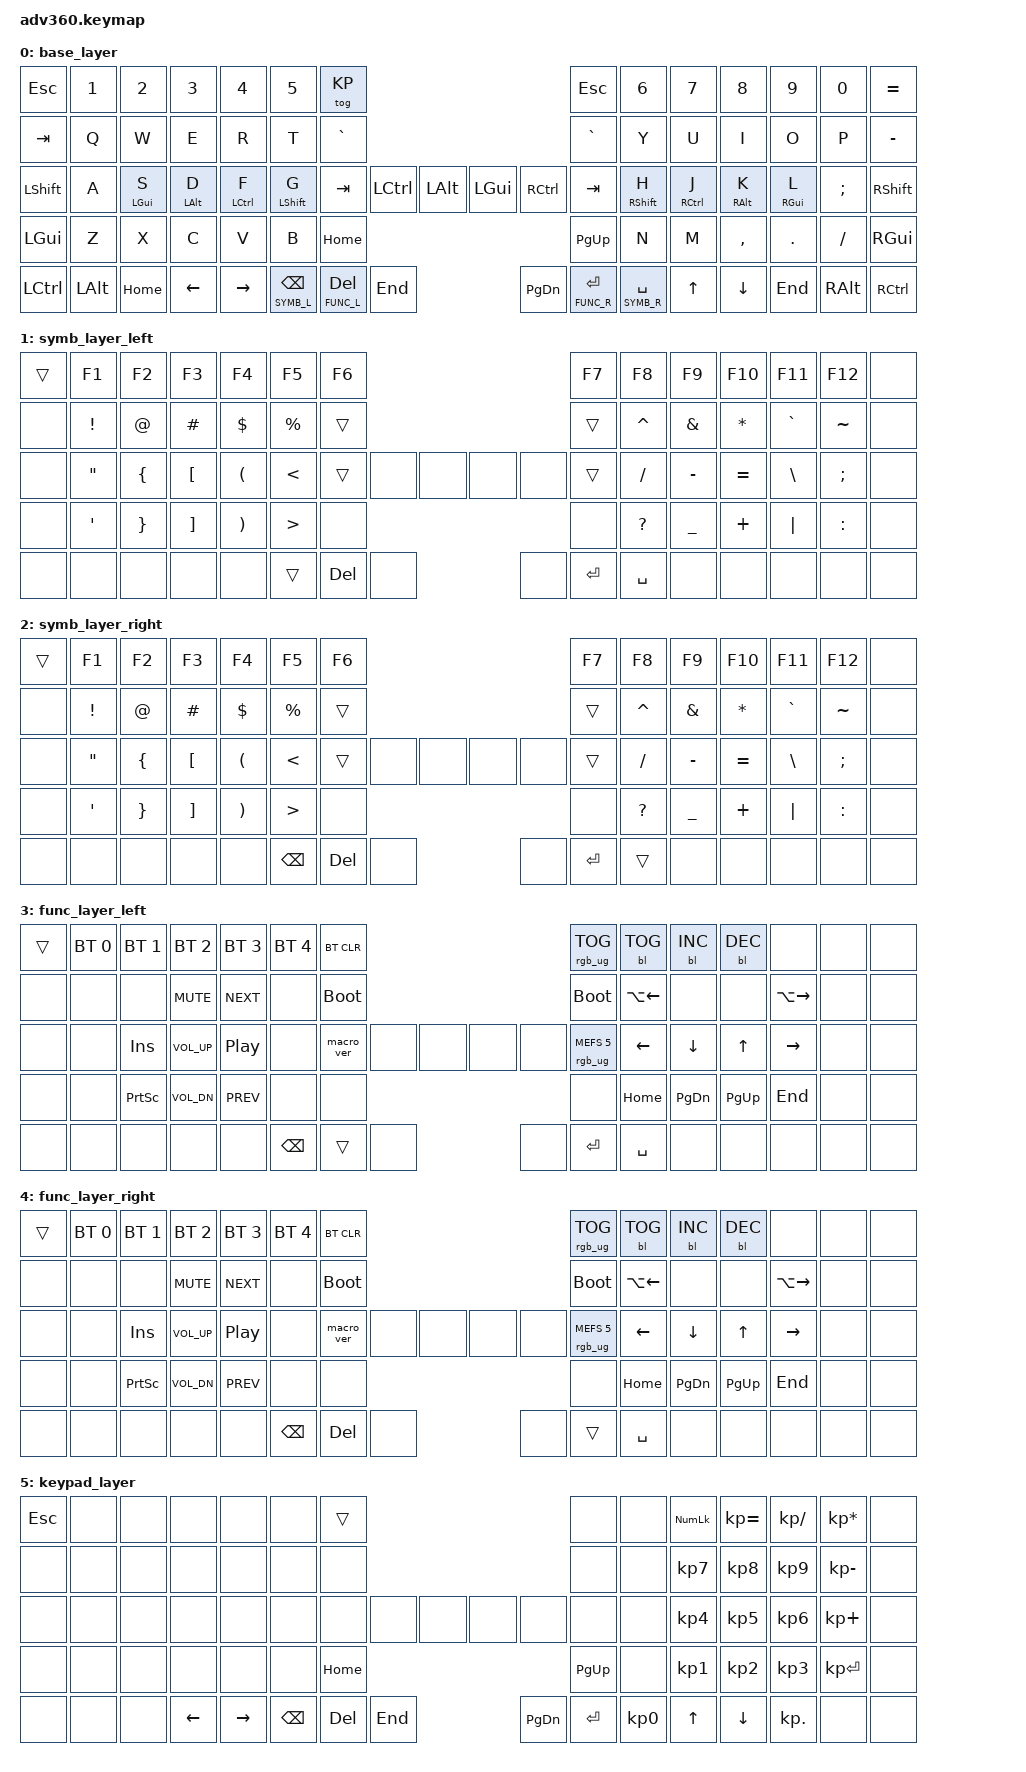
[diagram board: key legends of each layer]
#include <behaviors.dtsi>
#include <dt-bindings/zmk/keys.h>
#include <dt-bindings/zmk/bt.h>
#include <dt-bindings/zmk/rgb.h>
#include <dt-bindings/zmk/backlight.h>

#define BASE 0
#define SYMB_L 1
#define SYMB_R 2
#define FUNC_L 3
#define FUNC_R 4
#define KP 5

&lt {
    tapping-term-ms = <300>;
};

/ {
    behaviors {
      #include "macros.dtsi"
      #include "version.dtsi"
      #ifndef VERSION_MACRO
      macro_ver: macro_ver {
        compatible = "zmk,behavior-macro";
        label = "macro_version";
        #binding-cells = <0>;
        bindings = <&kp RET>;
      };
      #endif

      hm: homerow_mods {
          compatible = "zmk,behavior-hold-tap";
          label = "HOMEROW_MODS";
          #binding-cells = <2>;
          tapping-term-ms = <300>;
          quick_tap_ms = <0>;
          flavor = "tap-preferred";
          bindings = <&kp>, <&kp>;
      };
    };

  keymap {
    compatible = "zmk,keymap";

    base_layer {
      bindings = <
        &kp ESC   &kp N1    &kp N2     &kp N3     &kp N4      &kp N5      &tog KP                                                                                       &kp ESC   &kp N6      &kp N7      &kp N8     &kp N9     &kp N0   &kp EQUAL
        &kp TAB   &kp Q     &kp W      &kp E      &kp R       &kp T       &kp GRAVE                                                                                     &kp GRAVE &kp Y       &kp U       &kp I      &kp O      &kp P    &kp MINUS
        &kp LSHFT &kp A     &hm LGUI S &hm LALT D &hm LCTRL F &hm LSHFT G &kp TAB                          &kp LCTRL      &kp LALT &kp LGUI  &kp RCTRL                  &kp TAB   &hm RSHFT H &hm RCTRL J &hm RALT K &hm RGUI L &kp SEMI &kp RSHFT
        &kp LGUI  &kp Z     &kp X      &kp C      &kp V       &kp B                                                       &kp HOME &kp PG_UP                                          &kp N       &kp M       &kp COMMA  &kp DOT    &kp FSLH &kp RGUI 
        &kp LCTRL &kp LALT  &kp HOME   &kp LEFT   &kp RIGHT                                &lt SYMB_L BSPC &lt FUNC_L DEL &kp END  &kp PG_DN &lt FUNC_R ENTER &lt SYMB_R SPACE                    &kp UP      &kp DOWN   &kp END    &kp RALT &kp RCTRL
      >;
    };

    symb_layer_left {
      bindings = <
        &trans  &kp F1   &kp F2   &kp F3   &kp F4   &kp F5    &kp F6                                             &kp F7 &kp F8    &kp F9    &kp F10   &kp F11   &kp F12   &none
        &none   &kp EXCL &kp AT   &kp HASH &kp DLLR &kp PRCNT &trans                                             &trans &kp CARET &kp AMPS  &kp ASTRK &kp GRAVE &kp TILDE &none
        &none   &kp DQT  &kp LBRC &kp LBKT &kp LPAR &kp LT    &trans          &none   &none &none &none          &trans &kp FSLH  &kp MINUS &kp EQUAL &kp BSLH  &kp SEMI  &none
        &none   &kp SQT  &kp RBRC &kp RBKT &kp RPAR &kp GT                            &none &none                       &kp QMARK &kp UNDER &kp PLUS  &kp PIPE  &kp COLON &none
        &none   &none    &none    &none    &none                       &trans &kp DEL &none &none &kp ENTER &kp SPACE             &none     &none     &none     &none     &none
      >;
    };

    symb_layer_right {
      bindings = <
        &trans  &kp F1   &kp F2   &kp F3   &kp F4   &kp F5    &kp F6                                             &kp F7 &kp F8    &kp F9    &kp F10   &kp F11   &kp F12   &none
        &none   &kp EXCL &kp AT   &kp HASH &kp DLLR &kp PRCNT &trans                                             &trans &kp CARET &kp AMPS  &kp ASTRK &kp GRAVE &kp TILDE &none
        &none   &kp DQT  &kp LBRC &kp LBKT &kp LPAR &kp LT    &trans          &none   &none &none &none          &trans &kp FSLH  &kp MINUS &kp EQUAL &kp BSLH  &kp SEMI  &none
        &none   &kp SQT  &kp RBRC &kp RBKT &kp RPAR &kp GT                            &none &none                       &kp QMARK &kp UNDER &kp PLUS  &kp PIPE  &kp COLON &none
        &none   &none    &none    &none    &none                     &kp BSPC &kp DEL &none &none &kp ENTER &trans                &none     &none     &none     &none     &none
      >;
    };

    func_layer_left {
      bindings = <
        &trans  &bt BT_SEL 0 &bt BT_SEL 1 &bt BT_SEL 2 &bt BT_SEL 3 &bt BT_SEL 4   &bt BT_CLR                                               &rgb_ug RGB_TOG        &bl BL_TOG   &bl BL_INC &bl BL_DEC &none         &none     &none
        &none   &none        &none        &kp C_MUTE   &kp C_NEXT   &none          &bootloader                                              &bootloader            &kp LA(LEFT) &none      &none      &kp LA(RIGHT) &none     &none
        &none   &none        &kp INS      &kp C_VOL_UP &kp C_PP     &none          &macro_ver           &none  &none &none &none            &rgb_ug RGB_MEFS_CMD 5 &kp LEFT     &kp DOWN   &kp UP     &kp RIGHT     &none     &none
        &none   &none        &kp PSCRN    &kp C_VOL_DN &kp C_PREV   &none                                      &none &none                                         &kp HOME     &kp PG_DN  &kp PG_UP  &kp END       &none     &none
        &none   &none        &none        &none        &none                                   &kp BSPC &trans &none &none &kp ENTER &kp SPACE                                  &none      &none      &none         &none     &none
      >;
    };

    func_layer_right {
      bindings = <
        &trans  &bt BT_SEL 0 &bt BT_SEL 1 &bt BT_SEL 2 &bt BT_SEL 3 &bt BT_SEL 4   &bt BT_CLR                                            &rgb_ug RGB_TOG        &bl BL_TOG   &bl BL_INC &bl BL_DEC &none          &none     &none
        &none   &none        &none        &kp C_MUTE   &kp C_NEXT   &none          &bootloader                                           &bootloader            &kp LA(LEFT) &none      &none      &kp LA(RIGHT)  &none     &none
        &none   &none        &kp INS      &kp C_VOL_UP &kp C_PP     &none          &macro_ver           &none   &none &none &none        &rgb_ug RGB_MEFS_CMD 5 &kp LEFT     &kp DOWN   &kp UP     &kp RIGHT      &none     &none
        &none   &none        &kp PSCRN    &kp C_VOL_DN &kp C_PREV   &none                                       &none &none                                     &kp HOME     &kp PG_DN  &kp PG_UP  &kp END        &none     &none
        &none   &none        &none        &none        &none                                   &kp BSPC &kp DEL &none &none &trans &kp SPACE                                 &none      &none      &none          &none     &none
      >;
    };
    // rgb_ug RGB_MEFS_CMD 5: Battery level
    // rgb_ug RGB_TOG: Turning indicator LEDs on and off
    // BL_INC: backlight increase
    // BL_DEC: backlight decreas 
    // BL_TOG: turns backlight on and off 

    keypad_layer {
      bindings = <
        &kp ESC &none &none &none    &none     &none &trans                                                            &none &none  &kp KP_NUM &kp KP_EQUAL &kp KP_DIVIDE &kp KP_MULTIPLY &none
        &none   &none &none &none    &none     &none &none                                                             &none &none  &kp KP_N7  &kp KP_N8    &kp KP_N9     &kp KP_MINUS    &none
        &none   &none &none &none    &none     &none &none             &none    &none    &none     &none               &none &none  &kp KP_N4  &kp KP_N5    &kp KP_N6     &kp KP_PLUS     &none
        &none   &none &none &none    &none     &none                            &kp HOME &kp PG_UP                           &none  &kp KP_N1  &kp KP_N2    &kp KP_N3     &kp KP_ENTER    &none
        &none   &none &none &kp LEFT &kp RIGHT                &kp BSPC &kp DEL  &kp END  &kp PG_DN &kp ENTER &kp KP_N0              &kp UP     &kp DOWN     &kp KP_DOT    &none           &none
      >;
    };
  };
};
